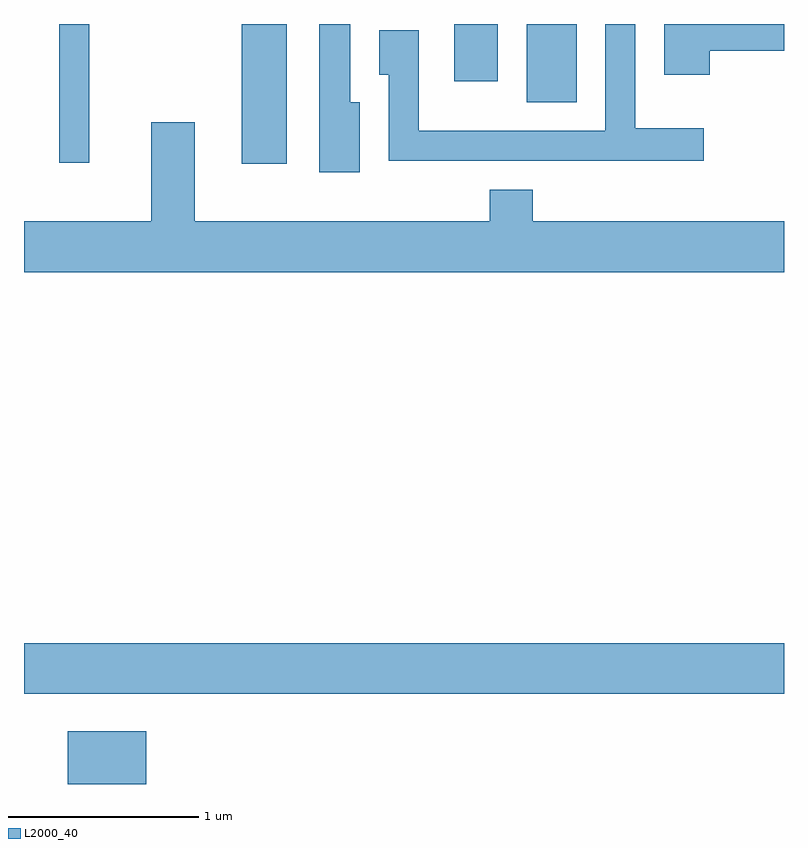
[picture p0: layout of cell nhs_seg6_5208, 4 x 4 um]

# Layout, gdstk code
import gdstk
lib = gdstk.Library(unit=1e-6, precision=1e-09)
def R(c, l, rs):  # rectangles x0, y0, x1, y1
    for r in rs: c.add(gdstk.rectangle(r[:2], r[2:], *l))
def P(c, l, *ps):  # polygons
    for p in ps: c.add(gdstk.Polygon(p, *l))
L2000_40 = (2000, 40)

nhs_seg6_5208 = lib.new_cell('nhs_seg6_5208')
R(nhs_seg6_5208, L2000_40, [(343.841,1616.162,344.254,1616.439), (343.611,1616.636,347.611,1616.904), (344.756,1619.426,344.994,1620.162), (343.796,1619.433,343.954,1620.162), (346.256,1619.751,346.519,1620.162), (345.876,1619.861,346.104,1620.162)])
P(nhs_seg6_5208, L2000_40, [(347.219,1620.021),(347.611,1620.021),(347.611,1620.162),(346.981,1620.162),(346.981,1619.896),(347.219,1619.896)],
  [(347.189,1619.614),(346.829,1619.614),(346.829,1620.162),(346.671,1620.162),(346.671,1619.599),(345.689,1619.599),(345.689,1620.129),(345.481,1620.129),(345.481,1619.896),(345.531,1619.896),(345.531,1619.441),(347.189,1619.441)],
  [(345.379,1619.749),(345.329,1619.749),(345.329,1620.162),(345.166,1620.162),(345.166,1619.381),(345.379,1619.381)],
  [(347.611,1619.124),(346.289,1619.124),(346.289,1619.289),(346.061,1619.289),(346.061,1619.124),(344.509,1619.124),(344.509,1619.644),(344.281,1619.644),(344.281,1619.124),(343.611,1619.124),(343.611,1618.856),(347.611,1618.856)])

lib.write_gds('nhs_seg6_5208.gds')
